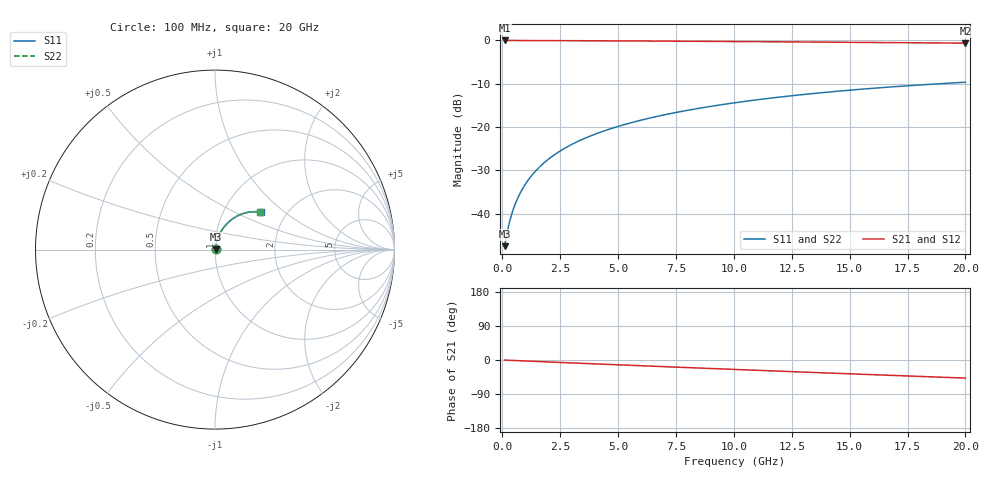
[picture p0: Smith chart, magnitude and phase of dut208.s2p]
! Touchstone file exported from HFSS 2026.1.0
!  File:  C:/ffzhzh/LocalFiles/Ansys_Project_Files/temp_train_BSMRDL_208_1782987843_45328.aedt
!  Generated:  06:25:28 PM Jul  2, 2026
!  Design:  BSMRDL
!  Project:  temp_train_BSMRDL_208_1782987843_45328
! Variables:
!  h_bsmrdl = 5.97um
!  h_ox = 20um
!  h_rdl = 5um
!  h_sub = 80um
!  h_tmrdl = 5um
!  h_tsv = 80um
!  h_via = 3um
!  l_bsmrdl = 799.12um
!  l_sub = 1199.12um
!  l_tmrdl = 200um
!  m_sub = 200um
!  pitch = 29.09um
!  r_tsv = 6um
!  s_tmrdl = 10um
!  w_bsmrdl = 13.95um
!  w_sub = 500um
!  w_tmrdl = 12um
!  x_tsv_center1 = 206um
!  x_tsv_center2 = 1019.07um
!  x_tsv_center3 = 1231.07um
!  x_tsv_center4 = 2044.14um
!  x_tsv_center5 = 2256.14um
!  x_tsv_center6 = 3069.21um
# GHz S MA R 50.000000
! Terminal data exported
! Port[1] = BSM_RDL1_1_T1
! Port[2] = BSM_RDL1_1_T2
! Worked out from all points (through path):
!   200 points, 100 MHz to 20 GHz, reference 50 ohm
!   highest |S21| = -0.03 dB at 100 MHz (marker M1); lowest = -0.6 dB at 20 GHz (marker M2)
!   group delay of S21, straight-line fit = 6.61 ps
!   lowest |S11| = -47.5 dB at 100 MHz (marker M3), VSWR 1.01, Z = 50.4 + j0.238 ohm
!   |S11| at or under -10 dB: start of sweep to 18.91 GHz
!   |S22| runs from -47.5 to -9.7 dB; largest |S21 - S12| = 3e-15
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0.1  0.004229 34.0  0.9965 -0.3  0.9965 -0.3  0.004229 34.0
! Gamma 0 0 0 0
! Port Impedance 50 0 50 0
0.2  0.005924 51.2  0.9963 -0.5  0.9963 -0.5  0.005924 51.2
0.3  0.007825 59.8  0.9961 -0.8  0.9961 -0.8  0.007825 59.8
0.4  0.009784 65.0  0.996 -1.1  0.996 -1.1  0.009784 65.0
0.5  0.01178 68.5  0.9959 -1.3  0.9959 -1.3  0.01178 68.5
0.6  0.0138 70.9  0.9958 -1.6  0.9958 -1.6  0.0138 70.9
0.8  0.01789 74.0  0.9956 -2.1  0.9956 -2.1  0.01789 74.0
1.1  0.02411 76.3  0.9952 -2.9  0.9952 -2.9  0.02411 76.3
1.3  0.02827 77.0  0.9949 -3.4  0.9949 -3.4  0.02827 77.0
1.6  0.0345 77.5  0.9944 -4.2  0.9944 -4.2  0.0345 77.5
2.1  0.04482 77.5  0.9935 -5.5  0.9935 -5.5  0.04482 77.5
2.7  0.05701 76.7  0.9921 -7.0  0.9921 -7.0  0.05701 76.7
3.5  0.07292 75.3  0.9901 -9.0  0.9901 -9.0  0.07292 75.3
4.2  0.08651 73.9  0.9882 -10.8  0.9882 -10.8  0.08651 73.9
5  0.1017 72.2  0.9858 -12.7  0.9858 -12.7  0.1017 72.2
5.9  0.1184 70.2  0.983 -15.0  0.983 -15.0  0.1184 70.2
6.8  0.1348 68.2  0.9801 -17.2  0.9801 -17.2  0.1347 68.3
8.3  0.1612 65.0  0.975 -20.8  0.975 -20.8  0.1612 65.0
10.1  0.1916 61.0  0.9684 -25.1  0.9684 -25.1  0.1915 61.1
13.4  0.2432 53.7  0.9554 -32.8  0.9554 -32.8  0.2432 53.8
16.7  0.289 46.5  0.9417 -40.4  0.9417 -40.4  0.289 46.6
20  0.3286 39.5  0.928 -47.7  0.928 -47.7  0.3286 39.6
